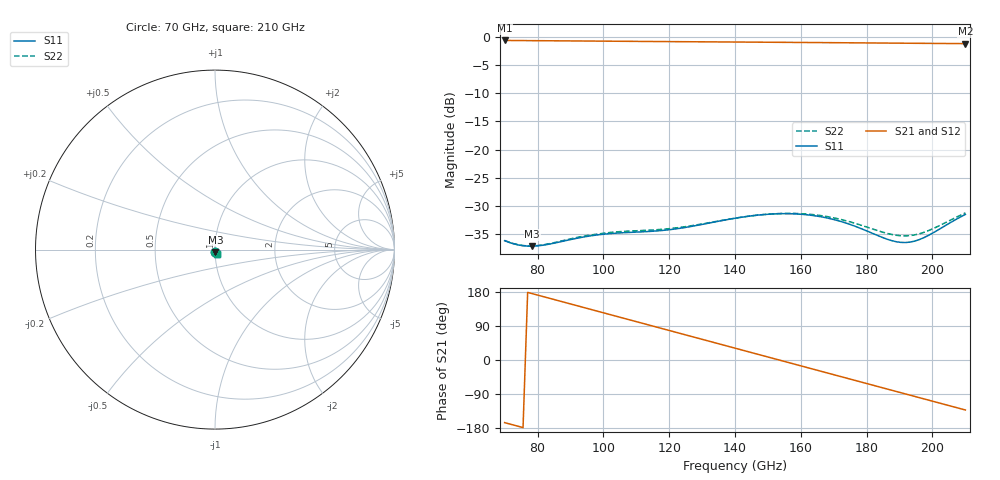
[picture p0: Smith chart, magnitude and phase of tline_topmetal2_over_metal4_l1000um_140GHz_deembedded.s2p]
! Created with skrf 2.2.0 (http://scikit-rf.org).
# GHz S DB R 50.0
! Port[1] = P1
! Port[2] = P2
!freq dBS11 angS11 dBS21 angS21 dBS12 angS12 dBS22 angS22
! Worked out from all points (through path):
!   101 points, 70 GHz to 210 GHz, reference 50 ohm
!   highest |S21| = -0.67 dB at 70 GHz (marker M1); lowest = -1.2 dB at 210 GHz (marker M2)
!   group delay of S21, straight-line fit = 6.48 ps
!   lowest |S11| = -37.1 dB at 78.4 GHz (marker M3), VSWR 1.03, Z = 50.2 - j1.39 ohm
!   |S11| at or under -10 dB: start of sweep to end of sweep
!   |S22| runs from -37.0 to -31.2 dB; largest |S21 - S12| = 1e-13
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70  -36.10 -93.1  -0.67 -165.2  -0.67 -165.2  -36.07 -93.5
78.4  -37.07 -80.4  -0.71 175.1  -0.71 175.1  -37.03 -80.5
85.4  -36.50 -72.5  -0.74 158.7  -0.74 158.7  -36.41 -72.4
93.8  -35.47 -70.3  -0.77 139.1  -0.77 139.1  -35.33 -70.3
100.8  -34.92 -71.6  -0.80 122.7  -0.80 122.7  -34.74 -71.4
106.4  -34.68 -72.7  -0.82 109.7  -0.82 109.7  -34.45 -72.9
112  -34.53 -73.0  -0.85 96.6  -0.85 96.6  -34.30 -73.5
117.6  -34.31 -72.4  -0.87 83.5  -0.87 83.5  -34.10 -73.3
123.2  -33.92 -71.7  -0.89 70.5  -0.89 70.5  -33.76 -72.6
128.8  -33.36 -71.7  -0.91 57.4  -0.91 57.4  -33.26 -72.5
140  -32.14 -75.8  -0.95 31.3  -0.95 31.3  -32.12 -75.8
147  -31.58 -80.8  -0.98 14.9  -0.98 14.9  -31.57 -80.1
152.6  -31.35 -85.8  -1.00 1.9  -1.00 1.9  -31.32 -84.4
158.2  -31.36 -91.0  -1.02 -11.2  -1.02 -11.2  -31.28 -89.1
163.8  -31.66 -96.2  -1.04 -24.3  -1.04 -24.3  -31.50 -93.7
169.4  -32.27 -100.6  -1.07 -37.4  -1.07 -37.4  -31.99 -97.6
176.4  -33.53 -103.5  -1.10 -53.7  -1.10 -53.7  -33.02 -100.1
182  -34.86 -101.7  -1.12 -66.7  -1.12 -66.7  -34.07 -98.5
187.6  -36.09 -93.5  -1.14 -79.8  -1.14 -79.8  -35.00 -92.0
193.2  -36.35 -79.5  -1.17 -92.8  -1.17 -92.8  -35.20 -81.2
198.8  -35.16 -67.0  -1.19 -105.9  -1.19 -105.9  -34.32 -70.9
210  -31.45 -61.8  -1.24 -131.9  -1.24 -131.9  -31.19 -65.4
